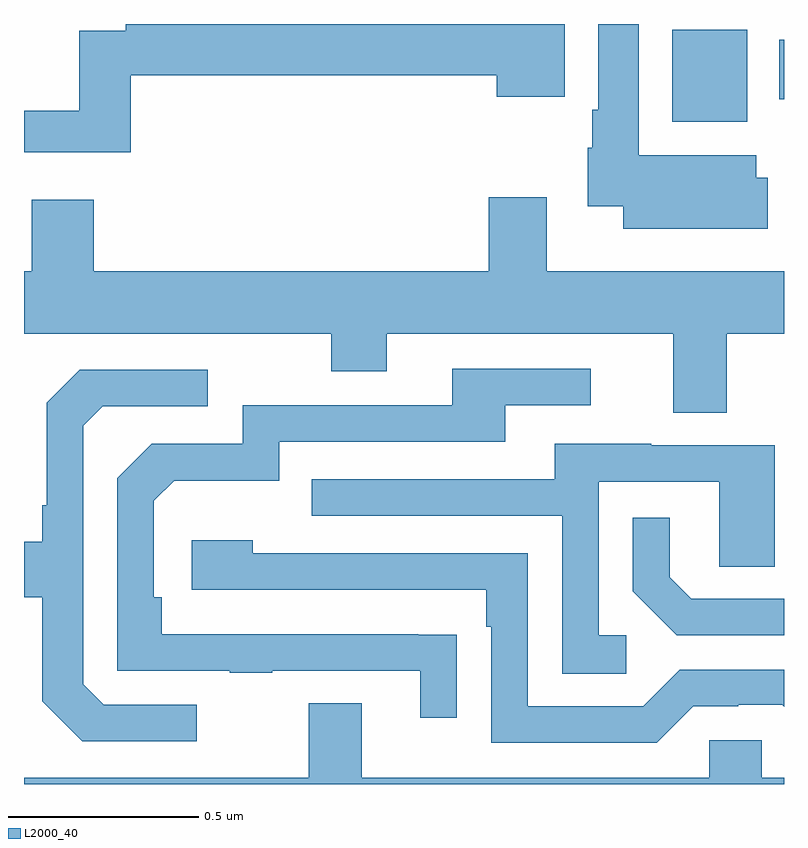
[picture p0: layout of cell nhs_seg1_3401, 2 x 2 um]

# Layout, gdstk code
import gdstk
lib = gdstk.Library(unit=1e-6, precision=1e-09)
def R(c, l, rs):  # rectangles x0, y0, x1, y1
    for r in rs: c.add(gdstk.rectangle(r[:2], r[2:], *l))
def P(c, l, *ps):  # polygons
    for p in ps: c.add(gdstk.Polygon(p, *l))
L2000_40 = (2000, 40)

nhs_seg1_3401 = lib.new_cell('nhs_seg1_3401')
R(nhs_seg1_3401, L2000_40, [(154.706,566.942,154.903,567.184), (154.988,567.001,155,567.157)])
P(nhs_seg1_3401, L2000_40, [(154.957,566.795),(154.927,566.795),(154.927,566.854),(154.618,566.854),(154.618,567.199),(154.511,567.199),(154.511,566.974),(154.496,566.974),(154.496,566.874),(154.484,566.874),(154.484,566.72),(154.577,566.72),(154.577,566.66),(154.957,566.66)],
  [(153.281,567.064),(154.244,567.064),(154.244,567.008),(154.423,567.008),(154.423,567.199),(153.268,567.199),(153.268,567.181),(153.145,567.181),(153.145,566.971),(153,566.971),(153,566.862),(153.281,566.862)],
  [(154.849,566.384),(155,566.384),(155,566.548),(154.375,566.548),(154.375,566.743),(154.223,566.743),(154.223,566.548),(153.184,566.548),(153.184,566.737),(153.02,566.737),(153.02,566.548),(153,566.548),(153,566.384),(153.808,566.384),(153.808,566.285),(153.955,566.285),(153.955,566.384),(154.709,566.384),(154.709,566.176),(154.849,566.176)],
  [(154.139,565.592),(154.037,565.592),(154.037,565.593),(153.362,565.593),(153.362,565.69),(153.342,565.69),(153.342,565.944),(153.395,565.997),(153.672,565.997),(153.672,566.1),(154.267,566.1),(154.267,566.196),(154.492,566.196),(154.492,566.292),(154.127,566.292),(154.127,566.196),(153.576,566.196),(153.576,566.094),(153.336,566.094),(153.246,566.004),(153.246,565.497),(153.541,565.497),(153.541,565.492),(153.653,565.492),(153.653,565.497),(154.043,565.497),(154.043,565.374),(154.139,565.374)],
  [(153.454,565.407),(153.21,565.407),(153.156,565.461),(153.156,566.142),(153.207,566.193),(153.484,566.193),(153.484,566.289),(153.147,566.289),(153.06,566.202),(153.06,565.933),(153.048,565.933),(153.048,565.837),(153,565.837),(153,565.69),(153.048,565.69),(153.048,565.417),(153.153,565.311),(153.454,565.311)],
  [(154.585,565.59),(154.512,565.59),(154.512,565.995),(154.83,565.995),(154.83,565.771),(154.975,565.771),(154.975,566.091),(154.651,566.091),(154.651,566.095),(154.397,566.095),(154.397,566.001),(153.757,566.001),(153.757,565.905),(154.416,565.905),(154.416,565.489),(154.585,565.489)],
  [(155,565.686),(154.756,565.686),(154.699,565.743),(154.699,565.9),(154.602,565.9),(154.602,565.706),(154.718,565.59),(155,565.59)],
  [(154.761,565.404),(154.88,565.404),(154.88,565.407),(154.995,565.407),(155,565.402),(155,565.5),(154.725,565.5),(154.629,565.404),(154.326,565.404),(154.326,565.806),(153.602,565.806),(153.602,565.84),(153.441,565.84),(153.441,565.71),(154.217,565.71),(154.217,565.613),(154.23,565.613),(154.23,565.308),(154.665,565.308)],
  [(155,565.216),(154.941,565.216),(154.941,565.314),(154.803,565.314),(154.803,565.216),(153.889,565.216),(153.889,565.411),(153.749,565.411),(153.749,565.216),(153,565.216),(153,565.199),(155,565.199)])

lib.write_gds('nhs_seg1_3401.gds')
